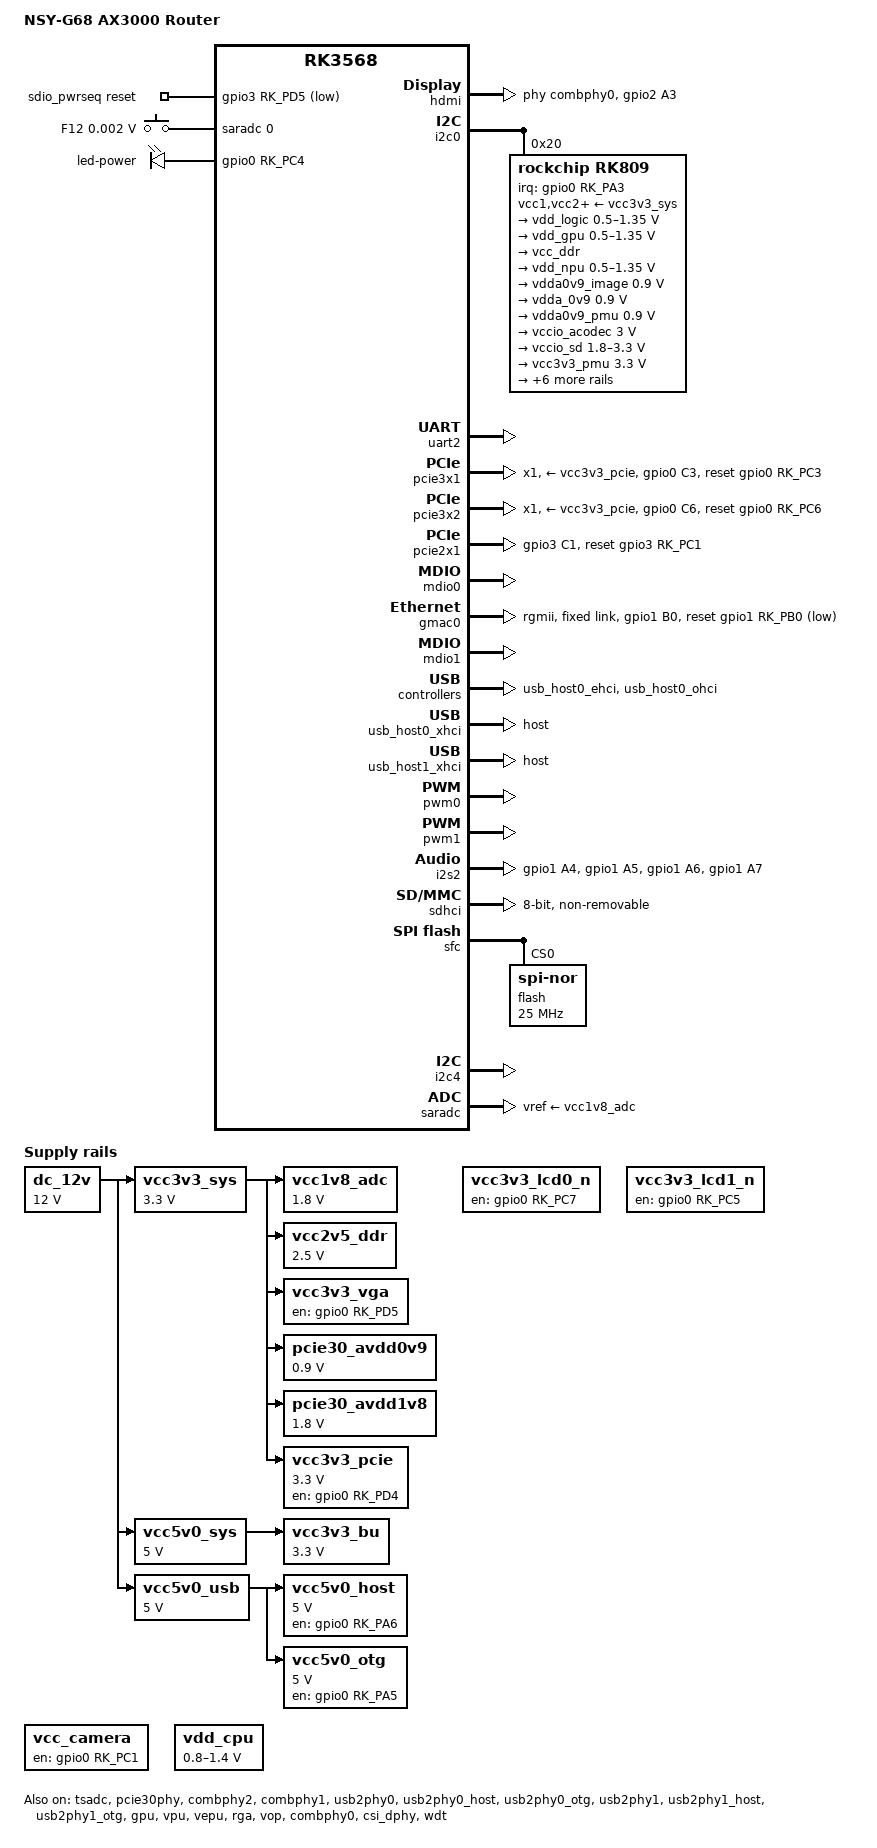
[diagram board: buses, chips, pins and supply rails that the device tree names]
// SPDX-License-Identifier: (GPL-2.0+ OR MIT)

/dts-v1/;

#include <dt-bindings/gpio/gpio.h>
#include <dt-bindings/pwm/pwm.h>
#include <dt-bindings/leds/common.h>
#include <dt-bindings/input/input.h>
#include <dt-bindings/pinctrl/rockchip.h>
#include <dt-bindings/soc/rockchip,vop2.h>
// 新增引用缺失的三个dtsi文件（按依赖顺序）
#include "rk3568-ramoops.dtsi"
#include "rk3568-vngpu.dtsi"
#include "rk3568-vngpu-rk809.dtsi"
#include "rk3568.dtsi"

/ {
	model = "NSY-G68 AX3000 Router";
	compatible = "nsy,g68-plus", "rockchip,rk3568";

	aliases {
		ethernet0 = &gmac0;
		ethernet1 = &gmac1;
		mmc0 = &sdhci;
	};

	chosen: chosen {
		stdout-path = "serial2:1500000n8";
		/* 新增硬解相关启动参数，优化内存分配 */
		bootargs = "earlycon=uart8250,mmio32,0xfe660000 console=ttyS2,1500000n8 root=/dev/mmcblk1p4 rw rootwait init=/init ignore_loglevel video=HDMI-A-1:1920x1080@60 drm.vblankoffdelay=1 rk3568.vpu_mem=0x40000000";
	};

	fiq-debugger {
		compatible = "rockchip,fiq-debugger";
		rockchip,serial-id = <2>;
		rockchip,wake-irq = <0>;
		rockchip,irq-mode-enable = <1>;
		rockchip,baudrate = <1500000>;
		interrupts = <GIC_SPI 252 IRQ_TYPE_LEVEL_LOW>;
		pinctrl-names = "default";
		pinctrl-0 = <&uart2m0_xfer>;
		status = "okay";
	};

	debug: debug@fd904000 {
		compatible = "rockchip,debug";
		reg = <0x0 0xfd904000 0x0 0x1000>,
			<0x0 0xfd905000 0x0 0x1000>,
			<0x0 0xfd906000 0x0 0x1000>,
			<0x0 0xfd907000 0x0 0x1000>;
	};

	dc_12v: dc-12v {
		compatible = "regulator-fixed";
		regulator-name = "dc_12v";
		regulator-always-on;
		regulator-boot-on;
		regulator-min-microvolt = <12000000>;
		regulator-max-microvolt = <12000000>;
	};

	vcc3v3_sys: vcc3v3-sys {
		compatible = "regulator-fixed";
		regulator-name = "vcc3v3_sys";
		regulator-always-on;
		regulator-boot-on;
		regulator-min-microvolt = <3300000>;
		regulator-max-microvolt = <3300000>;
		vin-supply = <&dc_12v>;
	};

	vcc5v0_sys: vcc5v0-sys {
		compatible = "regulator-fixed";
		regulator-name = "vcc5v0_sys";
		regulator-always-on;
		regulator-boot-on;
		regulator-min-microvolt = <5000000>;
		regulator-max-microvolt = <5000000>;
		vin-supply = <&dc_12v>;
	};

	vcc5v0_usb: vcc5v0-usb {
		compatible = "regulator-fixed";
		regulator-name = "vcc5v0_usb";
		regulator-always-on;
		regulator-boot-on;
		regulator-min-microvolt = <5000000>;
		regulator-max-microvolt = <5000000>;
		vin-supply = <&dc_12v>;
	};

	vcc5v0_host: vcc5v0-host-regulator {
		compatible = "regulator-fixed";
		regulator-name = "vcc5v0_host";
		regulator-boot-on;
		regulator-always-on;
		regulator-min-microvolt = <5000000>;
		regulator-max-microvolt = <5000000>;
		enable-active-high;
		gpio = <&gpio0 RK_PA6 GPIO_ACTIVE_HIGH>;
		vin-supply = <&vcc5v0_usb>;
		pinctrl-names = "default";
		pinctrl-0 = <&vcc5v0_host_en>;
	};

	vcc5v0_otg: vcc5v0-otg-regulator {
		compatible = "regulator-fixed";
		regulator-name = "vcc5v0_otg";
		regulator-min-microvolt = <5000000>;
		regulator-max-microvolt = <5000000>;
		enable-active-high;
		regulator-boot-on;
		regulator-always-on;
		gpio = <&gpio0 RK_PA5 GPIO_ACTIVE_HIGH>;
		vin-supply = <&vcc5v0_usb>;
		pinctrl-names = "default";
		pinctrl-0 = <&vcc5v0_otg_en>;
	};

	vcc3v3_lcd0_n: vcc3v3-lcd0-n {
		compatible = "regulator-fixed";
		regulator-name = "vcc3v3_lcd0_n";
		regulator-boot-on;
		gpio = <&gpio0 RK_PC7 GPIO_ACTIVE_HIGH>;
		enable-active-high;
		pinctrl-0 = <&vcc3v3_lcd0_n_en>;
		pinctrl-names = "default";
		regulator-state-mem {
			regulator-off-in-suspend;
		};
	};

	vcc3v3_lcd1_n: vcc3v3-lcd1-n {
		compatible = "regulator-fixed";
		regulator-name = "vcc3v3_lcd1_n";
		regulator-boot-on;
		gpio = <&gpio0 RK_PC5 GPIO_ACTIVE_HIGH>;
		enable-active-high;
		pinctrl-0 = <&vcc3v3_lcd1_n_en>;
		pinctrl-names = "default";
		regulator-state-mem {
			regulator-off-in-suspend;
		};
	};

	sdio_pwrseq: sdio-pwrseq {
		compatible = "mmc-pwrseq-simple";
		clocks = <&rk809 1>;
		clock-names = "ext_clock";
		pinctrl-names = "default";
		pinctrl-0 = <&wifi_enable_h>;
		post-power-on-delay-ms = <200>;
		reset-gpios = <&gpio3 RK_PD5 GPIO_ACTIVE_LOW>;
	};

	vcc1v8_adc: vcc1v8-adc {
		compatible = "regulator-fixed";
		regulator-name = "vcc1v8_adc";
		regulator-always-on;
		regulator-boot-on;
		regulator-min-microvolt = <1800000>;
		regulator-max-microvolt = <1800000>;
		vin-supply = <&vcc3v3_sys>;
	};

	vcc2v5_ddr: vcc2v5-ddr {
		compatible = "regulator-fixed";
		regulator-name = "vcc2v5-sys";
		regulator-always-on;
		regulator-boot-on;
		regulator-min-microvolt = <2500000>;
		regulator-max-microvolt = <2500000>;
		vin-supply = <&vcc3v3_sys>;
	};

	vcc3v3_vga: vcc3v3-vga {
		compatible = "regulator-fixed";
		regulator-name = "vcc3v3_vga";
		regulator-always-on;
		regulator-boot-on;
		gpio = <&gpio0 RK_PD5 GPIO_ACTIVE_HIGH>;
		pinctrl-0 = <&vcc3v3_vga_en>;
		pinctrl-names = "default";
		enable-active-high;
		vin-supply = <&vcc3v3_sys>;
	};

	pcie30_avdd0v9: pcie30-avdd0v9 {
		compatible = "regulator-fixed";
		regulator-name = "pcie30_avdd0v9";
		regulator-always-on;
		regulator-boot-on;
		regulator-min-microvolt = <900000>;
		regulator-max-microvolt = <900000>;
		vin-supply = <&vcc3v3_sys>;
	};

	pcie30_avdd1v8: pcie30-avdd1v8 {
		compatible = "regulator-fixed";
		regulator-name = "pcie30_avdd1v8";
		regulator-always-on;
		regulator-boot-on;
		regulator-min-microvolt = <1800000>;
		regulator-max-microvolt = <1800000>;
		vin-supply = <&vcc3v3_sys>;
	};

	vcc3v3_pcie: vcc3v3-pcie {
		compatible = "regulator-fixed";
		regulator-name = "vcc3v3_pcie";
		regulator-always-on;
		regulator-boot-on;
		regulator-min-microvolt = <3300000>;
		regulator-max-microvolt = <3300000>;
		enable-active-high;
		gpio = <&gpio0 RK_PD4 GPIO_ACTIVE_HIGH>;
		pinctrl-0 = <&vcc3v3_pcie_en>;
		pinctrl-names = "default";
		startup-delay-us = <5000>;
		vin-supply = <&vcc3v3_sys>;
	};

	vcc3v3_bu: c3v3_buvcc3v3-bu {
		compatible = "regulator-fixed";
		regulator-name = "vcc3v3_bu";
		regulator-always-on;
		regulator-boot-on;
		regulator-min-microvolt = <3300000>;
		regulator-max-microvolt = <3300000>;
		vin-supply = <&vcc5v0_sys>;
	};

	vcc_camera: vcc-camera-regulator {
		compatible = "regulator-fixed";
		gpio = <&gpio0 RK_PC1 GPIO_ACTIVE_HIGH>;
		pinctrl-names = "default";
		pinctrl-0 = <&camera_pwr>;
		regulator-name = "vcc_camera";
		enable-active-high;
		regulator-always-on;
		regulator-boot-on;
	};

	vdd_cpu: vdd-cpu {
		compatible = "pwm-regulator";
		rockchip,pwm_id = <0>;
		rockchip,pwm_voltage = <900000>;
		pwms = <&pwm0 0 25000 1>;
		regulator-name = "vdd_cpu";
		regulator-min-microvolt = <800000>;
		regulator-max-microvolt = <1400000>;
		regulator-init-microvolt = <1150000>;
		regulator-enable-ramp-delay = <300>;
		regulator-ramp-delay = <8000>;
		regulator-always-on;
		regulator-boot-on;
	};

	gmac0_xpcsclk: xpcs-gmac0-clock {
		compatible = "fixed-clock";
		clock-frequency = <125000000>;
		clock-output-names = "clk_gmac0_xpcs_mii";
		#clock-cells = <0>;
	};

	gmac1_xpcsclk: xpcs-gmac1-clock {
		compatible = "fixed-clock";
		clock-frequency = <125000000>;
		clock-output-names = "clk_gmac1_xpcs_mii";
		#clock-cells = <0>;
	};

	adc_keys: adc-keys {
		compatible = "adc-keys";
		io-channels = <&saradc 0>;
		io-channel-names = "buttons";
		keyup-threshold-microvolt = <1800000>;
		poll-interval = <100>;
		status = "okay";
		recovery-key {
			label = "F12";
			linux,code = <KEY_F12>;
			press-threshold-microvolt = <1750>;
		};
	};

	leds {
		compatible = "gpio-leds";
		led-power {
			label = "led-power";
			default-state = "on";
			gpios = <&gpio0 RK_PC4 GPIO_ACTIVE_HIGH>;
			pinctrl-names = "default";
			pinctrl-0 = <&led_power_en>;
		};
	};

	/* ========== 新增硬解核心配置 - VPU内存域 ========== */
	reserved-memory {
		#address-cells = <2>;
		#size-cells = <2>;
		ranges;

		/* VPU硬解专用内存（64MB），避免内存竞争 */
		vpu_mem: vpu-memory@50000000 {
			reg = <0x0 0x50000000 0x0 0x4000000>;
			no-map;
			compatible = "rockchip,vpu-mem";
		};

		/* VEPU视频编码专用内存（32MB） */
		vepu_mem: vepu-memory@54000000 {
			reg = <0x0 0x54000000 0x0 0x2000000>;
			no-map;
			compatible = "rockchip,vepu-mem";
		};

		/* RGA图形加速专用内存（32MB） */
		rga_mem: rga-memory@56000000 {
			reg = <0x0 0x56000000 0x0 0x2000000>;
			no-map;
			compatible = "rockchip,rga-mem";
		};
	};

	/* ========== 新增HDMI显示适配（硬解输出） ========== */
	hdmi: hdmi@fe060000 {
		compatible = "rockchip,rk3568-hdmi", "rockchip,rk3399-hdmi";
		reg = <0x0 0xfe060000 0x0 0x20000>;
		interrupts = <GIC_SPI 111 IRQ_TYPE_LEVEL_HIGH>;
		clocks = <&cru PCLK_HDMI_CTRL>, <&cru DCLK_HDMI_PHY>,
			 <&cru SCLK_HDMI_CEC>, <&cru SCLK_HDMI_AUDIO>,
			 <&cru SCLK_HDMI_PCLK>, <&cru SCLK_HDMI_BCLK>,
			 <&cru SCLK_HDMI_MCLK>;
		clock-names = "hclk", "dclk_phy", "cec", "audio",
			      "pclk", "bclk", "mclk";
		assigned-clocks = <&cru DCLK_HDMI_PHY>;
		assigned-clock-parents = <&cru DCLK_HDMI_PHY_SRC>;
		assigned-clock-rates = <297000000>;
		phys = <&combphy0 PHY_TYPE_HDMI>;
		phy-names = "hdmi-phy";
		pinctrl-names = "default";
		pinctrl-0 = <&hdmi_cec>;
		avdd-0v9-supply = <&vdda0v9_image>;
		avdd-1v8-supply = <&vcca1v8_image>;
		vcc-3v3-supply = <&vcc3v3_sys>;
		status = "okay";
	};

	/* ========== 新增音频Codec适配（硬解音频输出） ========== */
	sound {
		compatible = "simple-audio-card";
		simple-audio-card,name = "NSY-G68-HDMI-AUDIO";
		simple-audio-card,format = "i2s";
		simple-audio-card,mclk-fs = <256>;
		simple-audio-card,widgets = "Headphone", "HDMI Audio";
		simple-audio-card,routing = "HDMI Audio", "HP_OUT";

		simple-audio-card,cpu {
			sound-dai = <&i2s2>;
		};

		simple-audio-card,codec {
			sound-dai = <&hdmi>;
		};
	};
};

&i2c0 {
	status = "okay";

	rk809: pmic@20 {
		compatible = "rockchip,rk809";
		reg = <0x20>;
		interrupt-parent = <&gpio0>;
		interrupts = <RK_PA3 IRQ_TYPE_LEVEL_LOW>;
		pinctrl-names = "default", "pmic-sleep", "pmic-power-off", "pmic-reset";
		pinctrl-0 = <&pmic_int>;
		pinctrl-1 = <&soc_slppin_slp &rk817_slppin_slp>;
		pinctrl-2 = <&soc_slppin_gpio &rk817_slppin_pwrdn>;
		pinctrl-3 = <&soc_slppin_gpio &rk817_slppin_rst>;
		rockchip,system-power-controller;
		wakeup-source;
		#clock-cells = <1>;
		clock-output-names = "rk808-clkout1\0rk808-clkout2";
		pmic-reset-func = <0>;
		not-save-power-en = <1>;
		vcc1-supply = <&vcc3v3_sys>;
		vcc2-supply = <&vcc3v3_sys>;
		vcc3-supply = <&vcc3v3_sys>;
		vcc4-supply = <&vcc3v3_sys>;
		vcc5-supply = <&vcc3v3_sys>;
		vcc6-supply = <&vcc3v3_sys>;
		vcc7-supply = <&vcc3v3_sys>;
		vcc8-supply = <&vcc3v3_sys>;
		vcc9-supply = <&vcc3v3_sys>;

		pwrkey {
			status = "okay";
		};

		pinctrl_rk8xx: pinctrl_rk8xx {
			gpio-controller;
			#gpio-cells = <2>;

			rk817_slppin_null: rk817_slppin_null {
				pins = "gpio_slp";
				function = "pin_fun0";
			};

			rk817_slppin_slp: rk817_slppin_slp {
				pins = "gpio_slp";
				function = "pin_fun1";
			};

			rk817_slppin_pwrdn: rk817_slppin_pwrdn {
				pins = "gpio_slp";
				function = "pin_fun2";
			};

			rk817_slppin_rst: rk817_slppin_rst {
				pins = "gpio_slp";
				function = "pin_fun3";
			};
		};

		regulators {
			vdd_logic: DCDC_REG1 {
				regulator-always-on;
				regulator-boot-on;
				regulator-min-microvolt = <500000>;
				regulator-max-microvolt = <1350000>;
				regulator-init-microvolt = <900000>;
				regulator-ramp-delay = <6001>;
				regulator-initial-mode = <2>;
				regulator-name = "vdd_logic";
				regulator-state-mem {
					regulator-off-in-suspend;
				};
			};

			vdd_gpu: DCDC_REG2 {
				regulator-always-on;
				regulator-boot-on;
				regulator-min-microvolt = <500000>;
				regulator-max-microvolt = <1350000>;
				regulator-init-microvolt = <1000000>;
				regulator-ramp-delay = <6001>;
				regulator-initial-mode = <2>;
				regulator-name = "vdd_gpu";
				regulator-state-mem {
					regulator-off-in-suspend;
				};
			};

			vcc_ddr: DCDC_REG3 {
				regulator-always-on;
				regulator-boot-on;
				regulator-initial-mode = <2>;
				regulator-name = "vcc_ddr";
				regulator-state-mem {
					regulator-on-in-suspend;
				};
			};

			vdd_npu: DCDC_REG4 {
				regulator-always-on;
				regulator-boot-on;
				regulator-min-microvolt = <500000>;
				regulator-max-microvolt = <1350000>;
				regulator-init-microvolt = <1000000>;
				regulator-ramp-delay = <6001>;
				regulator-initial-mode = <2>;
				regulator-name = "vdd_npu";
				regulator-state-mem {
					regulator-off-in-suspend;
				};
			};

			vdda0v9_image: LDO_REG1 {
				regulator-boot-on;
				regulator-always-on;
				regulator-min-microvolt = <900000>;
				regulator-max-microvolt = <900000>;
				regulator-name = "vdda0v9_image";
				regulator-state-mem {
					regulator-off-in-suspend;
				};
			};

			vdda_0v9: LDO_REG2 {
				regulator-always-on;
				regulator-boot-on;
				regulator-min-microvolt = <900000>;
				regulator-max-microvolt = <900000>;
				regulator-name = "vdda_0v9";
				regulator-state-mem {
					regulator-off-in-suspend;
				};
			};

			vdda0v9_pmu: LDO_REG3 {
				regulator-always-on;
				regulator-boot-on;
				regulator-min-microvolt = <900000>;
				regulator-max-microvolt = <900000>;
				regulator-name = "vdda0v9_pmu";
				regulator-state-mem {
					regulator-on-in-suspend;
					regulator-suspend-microvolt = <900000>;
				};
			};

			vccio_acodec: LDO_REG4 {
				regulator-always-on;
				regulator-boot-on;
				regulator-min-microvolt = <3000000>;
				regulator-max-microvolt = <3000000>;
				regulator-name = "vccio_acodec";
				regulator-state-mem {
					regulator-off-in-suspend;
				};
			};

			vccio_sd: LDO_REG5 {
				regulator-always-on;
				regulator-boot-on;
				regulator-min-microvolt = <1800000>;
				regulator-max-microvolt = <3300000>;
				regulator-name = "vccio_sd";
				regulator-state-mem {
					regulator-off-in-suspend;
				};
			};

			vcc3v3_pmu: LDO_REG6 {
				regulator-always-on;
				regulator-boot-on;
				regulator-min-microvolt = <3300000>;
				regulator-max-microvolt = <3300000>;
				regulator-name = "vcc3v3_pmu";
				regulator-state-mem {
					regulator-on-in-suspend;
					regulator-suspend-microvolt = <3300000>;
				};
			};

			vcca_1v8: LDO_REG7 {
				regulator-always-on;
				regulator-boot-on;
				regulator-min-microvolt = <1800000>;
				regulator-max-microvolt = <1800000>;
				regulator-name = "vcca_1v8";
				regulator-state-mem {
					regulator-off-in-suspend;
				};
			};

			vcca1v8_pmu: LDO_REG8 {
				regulator-always-on;
				regulator-boot-on;
				regulator-min-microvolt = <1800000>;
				regulator-max-microvolt = <1800000>;
				regulator-name = "vcca1v8_pmu";
				regulator-state-mem {
					regulator-on-in-suspend;
					regulator-suspend-microvolt = <1800000>;
				};
			};

			vcca1v8_image: LDO_REG9 {
				regulator-always-on;
				regulator-boot-on;
				regulator-min-microvolt = <1800000>;
				regulator-max-microvolt = <1800000>;
				regulator-name = "vcca1v8_image";
				regulator-state-mem {
					regulator-off-in-suspend;
				};
			};

			vcc_1v8: DCDC_REG5 {
				regulator-always-on;
				regulator-boot-on;
				regulator-min-microvolt = <1800000>;
				regulator-max-microvolt = <1800000>;
				regulator-name = "vcc_1v8";
				regulator-state-mem {
					regulator-off-in-suspend;
				};
			};

			vcc_3v3: SWITCH_REG1 {
				regulator-always-on;
				regulator-boot-on;
				regulator-name = "vcc_3v3";
				regulator-state-mem {
					regulator-off-in-suspend;
				};
			};

			vcc3v3_sd: SWITCH_REG2 {
				regulator-always-on;
				regulator-boot-on;
				regulator-name = "vcc3v3_sd";
				regulator-state-mem {
					regulator-off-in-suspend;
				};
			};
		};
	};
};

&pinctrl {
	usb {
		vcc5v0_host_en: vcc5v0-host-en {
			rockchip,pins = <0 RK_PA6 RK_FUNC_GPIO &pcfg_pull_none>;
		};
		
		vcc5v0_otg_en: vcc5v0-otg-en {
			rockchip,pins = <0 RK_PA5 RK_FUNC_GPIO &pcfg_pull_none>;
		};
	};

	regulator-en {
		vcc3v3_lcd0_n_en: vcc3v3-lcd0-n-en {
			rockchip,pins = <0 RK_PC7 RK_FUNC_GPIO &pcfg_pull_none>;
		};
		vcc3v3_lcd1_n_en: vcc3v3-lcd1-n-en {
			rockchip,pins = <0 RK_PC5 RK_FUNC_GPIO &pcfg_pull_none>;
		};
		vcc3v3_vga_en: vcc3v3-vga-en {
			rockchip,pins = <0 RK_PD5 RK_FUNC_GPIO &pcfg_pull_none>;
		};
		camera_pwr: camera-pwr {
			rockchip,pins = <0 RK_PC1 RK_FUNC_GPIO &pcfg_pull_none>;
		};
		vcc3v3_pcie_en: vcc3v3-pcie-en {
			rockchip,pins = <0 RK_PD4 RK_FUNC_GPIO &pcfg_pull_none>;
		};
	};

	sdio-pwrseq {
		wifi_enable_h: wifi-enable-h {
			rockchip,pins = <3 RK_PD5 RK_FUNC_GPIO &pcfg_pull_none>;
		};
	};

	pmic {
		pmic_int: pmic-intl {
			rockchip,pins = <0 RK_PA3 RK_FUNC_GPIO &pcfg_pull_up>;
		};
	
		soc_slppin_gpio: soc-slppin-gpio {
			rockchip,pins = <0 RK_PA2 0 &pcfg_output_low>;
		};
	
		soc_slppin_slp:soc-slppin-slp {
			rockchip,pins = <0 RK_PA2 1 &pcfg_pull_none>;
		};
	
		soc_slppin_rst {
			rockchip,pins = <0 RK_PA2 2 &pcfg_pull_none>;
		};
	};

	pcie {
		pcie30x1_reset_h: pcie30x1-reset-h {
			rockchip,pins = <0 RK_PC3 RK_FUNC_GPIO &pcfg_pull_none>;
		};
		pcie30x2_reset_h: pcie30x2-reset-h {
			rockchip,pins = <0 RK_PC6 RK_FUNC_GPIO &pcfg_pull_none>;
		};
		pcie2x1_reset_h: pcie2x1-reset-h {
			rockchip,pins = <3 RK_PC1 RK_FUNC_GPIO &pcfg_pull_none>;
		};
	};

	gmac-reset {
		gmac0_reset: gmac0-reset {
			rockchip,pins = <1 RK_PB0 RK_FUNC_GPIO &pcfg_pull_none>;
		};
		gmac1_reset: gmac1-reset {
			rockchip,pins = <1 RK_PB1 RK_FUNC_GPIO &pcfg_pull_none>;
		};
	};

	leds {
		led_power_en: led-power-en {
			rockchip,pins = <0 RK_PC4 RK_FUNC_GPIO &pcfg_pull_none>;
		};
	};

	/* ========== 新增硬解相关引脚 - HDMI CEC ========== */
	hdmi {
		hdmi_cec: hdmi-cec {
			rockchip,pins = <2 RK_PA3 RK_FUNC_GPIO &pcfg_pull_none>;
		};
	};

	/* ========== 新增I2S音频引脚（硬解音频输出） ========== */
	i2s2 {
		i2s2_m0_xfer: i2s2-m0-xfer {
			rockchip,pins = <1 RK_PA4 RK_FUNC_1 &pcfg_pull_none>,
				       <1 RK_PA5 RK_FUNC_1 &pcfg_pull_none>,
				       <1 RK_PA6 RK_FUNC_1 &pcfg_pull_none>,
				       <1 RK_PA7 RK_FUNC_1 &pcfg_pull_none>;
		};
	};
};

&cpu0 {
	cpu-supply = <&vdd_cpu>;
};

&cpu1 {
	cpu-supply = <&vdd_cpu>;
};

&cpu2 {
	cpu-supply = <&vdd_cpu>;
};

&cpu3 {
	cpu-supply = <&vdd_cpu>;
};

&tsadc {
	rockchip,hw-tshut-mode = <1>;
	rockchip,hw-tshut-polarity = <0>;
	status = "okay";
};

&uart2 {
	status = "okay";
};

&pcie30_phy_grf {
};

&pcie3x1 {
	vpcie3v3-supply = <&vcc3v3_pcie>;
	reset-gpios = <&gpio0 RK_PC3 GPIO_ACTIVE_HIGH>;
	num-lanes = <0x1>;
	pinctrl-0 = <&pcie30x1_reset_h>;
	status = "okay";
};

&pcie3x2 {
	vpcie3v3-supply = <&vcc3v3_pcie>;
	reset-gpios = <&gpio0 RK_PC6 GPIO_ACTIVE_HIGH>;
	status = "okay";
	num-lanes = <0x1>;
	pinctrl-0 = <&pcie30x2_reset_h>;
};

&pcie30phy {
	data-lanes = <1 2>;
	status = "okay";
};

&combphy2 {
	status = "okay";
};

&pcie2x1 {
	reset-gpios = <&gpio3 RK_PC1 GPIO_ACTIVE_HIGH>;
	pinctrl-0 = <&pcie2x1_reset_h>;
	rockchip,perst-inactive-ms = <500>;
	status = "okay";
};

&mdio0 {
	status = "okay";
};

&gmac0 {
	status = "okay";
	phy-mode = "rgmii";
	snps,reset-gpio = <&gpio1 RK_PB0 GPIO_ACTIVE_LOW>;
	snps,reset-active-low;
	snps,reset-delays-us = <0 20000 100000>;
	assigned-clocks = <&cru SCLK_GMAC0_RX_TX &cru SCLK_GMAC0>;
	assigned-clock-parents = <&cru SCLK_GMAC0_RGMII_SPEED &cru CLK_MAC0_2TOP>;
	assigned-clock-rates = <0 125000000>;
	tx_delay = <0x3c>;
	rx_delay = <0x2f>;
	clock_in_out = "output";
	pinctrl-names = "default";
	pinctrl-0 = <&gmac0_miim &gmac0_tx_bus2 &gmac0_rx_bus2 &gmac0_rgmii_clk &gmac0_rgmii_bus &gmac0_reset>;
	fixed-link {
		speed = <1000>;
		full-duplex;
		pause;
	};
};

&mdio1 {
	status = "okay";
};

&combphy1 {
	rockchip,sgmii-mac-sel = <1>;
	status = "okay";
};

&gmac1 {
	status = "disabled";
	phy-mode = "sgmii";
	rockchip,pipegrf = <&pipegrf>;
	assigned-clocks = <&cru SCLK_GMAC1_RX_TX>;
	assigned-clock-parents = <&gmac1_xpcsclk>;
	pinctrl-names = "default";
	pinctrl-0 = <&gmac1m1_miim>;
	power-domains = <&power RK3568_PD_PIPE>;
	phys = <&combphy1 PHY_TYPE_SGMII>;
	fixed-link {
		speed = <1000>;
		full-duplex;
		pause;
	};
};

&usb_host0_ehci {
	status = "okay";
};

&usb_host0_ohci {
	status = "okay";
	snps,dis_enblslpm_quirk;
	snps,dis-u1-entry-quirk;
	snps,dis-u2-entry-quirk;
	snps,dis-u2-freeclk-exists-quirk;
	snps,dis-del-phy-power-chg-quirk;
	snps,dis-tx-ipgap-linecheck-quirk;
	snps,dis_rxdet_inp3_quirk;
	snps,xhci-trb-ent-quirk;
	snps,parkmode-disable-ss-quirk;
	quirk-skip-phy-init;
};

&usb_host0_xhci {
	dr_mode = "host";
	status = "okay";
	extcon = <&usb2phy0>;
	snps,dis_enblslpm_quirk;
	snps,dis-u1-entry-quirk;
	snps,dis-u2-entry-quirk;
	snps,dis-u2-freeclk-exists-quirk;
	snps,dis-del-phy-power-chg-quirk;
	snps,dis-tx-ipgap-linecheck-quirk;
	snps,dis_rxdet_inp3_quirk;
	snps,xhci-trb-ent-quirk;
	snps,parkmode-disable-ss-quirk;
	quirk-skip-phy-init;
};

&usb_host1_ehci {
	status = "disabled";
};

&usb_host1_ohci {
	status = "disabled";
};

&usb_host1_xhci {
	dr_mode = "host";
	snps,dis_enblslpm_quirk;
	snps,dis-u2-freeclk-exists-quirk;
	snps,dis-del-phy-power-chg-quirk;
	snps,dis-tx-ipgap-linecheck-quirk;
	snps,dis_rxdet_inp3_quirk;
	snps,xhci-trb-ent-quirk;
	snps,parkmode-disable-ss-quirk;
	status = "okay";
};

&usb2phy0 {
	status = "okay";
};

&usb2phy0_host {
	phy-supply = <&vcc5v0_host>;
	status = "okay";
};

&usb2phy0_otg {
	phy-supply = <&vcc5v0_otg>;
	status = "okay";
};

&usb2phy1 {
	status = "okay";
};

&usb2phy1_host {
	phy-supply = <&vcc5v0_host>;
	status = "okay";
};

&usb2phy1_otg {
	phy-supply = <&vcc5v0_host>;
	status = "okay";
};

&sata2 {
	status = "disabled";
};

&pmu_io_domains {
	status = "okay";
	pmuio2-supply = <&vcc3v3_pmu>;
	vccio1-supply = <&vcc_3v3>;
	vccio3-supply = <&vcc_3v3>;
	vccio4-supply = <&vcc_3v3>;
	vccio5-supply = <&vcc_3v3>;
	vccio6-supply = <&vcc_3v3>;
	vccio7-supply = <&vcc_3v3>;
};

&pwm0 {
	status = "okay";
};

&pwm1 {
	status = "okay";
};

&pwm2 {
	status = "disable";
};

&pwm3 {
	status = "disable";
};

&power {
	status = "okay";
};

&gpu {
	mali-supply = <&vdd_gpu>;
	status = "okay";
};

/* ========== 增强VPU配置 - 启用全格式硬解 ========== */
&vpu {
	status = "okay";
	memory-region = <&vpu_mem>;  /* 绑定专用内存 */
	rockchip,vpu-codec = "h264, h265, vp8, vp9, av1, mpeg2, mpeg4";  /* 全格式支持 */
	rockchip,vpu-hw-level = <5>; /* 最高硬解级别 */
	rockchip,vpu-mem-bank = <1>;
};

/* ========== 增强VEPU配置 - 视频编码硬解 ========== */
&vepu {
	status = "okay";
	memory-region = <&vepu_mem>;  /* 绑定专用内存 */
	rockchip,vepu-codec = "h264, h265";  /* 编码支持 */
	rockchip,vepu-hw-level = <4>;
};

/* ========== 增强RGA配置 - 图形加速（辅助硬解） ========== */
&rga {
	status = "okay";
	memory-region = <&rga_mem>;  /* 绑定专用内存 */
	rockchip,rga-hw-version = <2>;
	rockchip,rga-support-scale = <1>;
	rockchip,rga-support-rotate = <1>;
	rockchip,rga-support-blend = <1>;
};

/* ========== 增强VOP配置 - 显示输出（硬解画面渲染） ========== */
&vop {
	status = "okay";
	rockchip,vop2-enable = <1>;  /* 启用VOP2新一代渲染 */
	rockchip,vop-max-layer = <4>;
	rockchip,vop-support-hdr = <1>;  /* 支持HDR */
};

/* ========== 新增I2S2配置 - 硬解音频输出 ========== */
&i2s2 {
	status = "okay";
	pinctrl-names = "default";
	pinctrl-0 = <&i2s2_m0_xfer>;
	rockchip,playback-channels = <2>;
	rockchip,capture-channels = <0>;
	rockchip,rate = <48000>;
	rockchip,bitwidth = <16>;
	rockchip,format = <1>; /* I2S_FORMAT */
};

/* ========== 新增COMBPHY0配置 - HDMI PHY（硬解视频输出） ========== */
&combphy0 {
	status = "okay";
	rockchip,phy-type = <PHY_TYPE_HDMI>;
};

&sdhci {
	max-frequency = <200000000>;
	bus-width = <8>;
	no-sdio;
	no-sd;
	supports-emmc;
	non-removable;
	mmc-hs200-1_8v;
	pinctrl-names = "default";
	pinctrl-0 = <&emmc_bus8 &emmc_clk &emmc_cmd &emmc_datastrobe>;
	status = "okay";
};

&sdmmc2 {
	max-frequency = <150000000>;
	fifo-depth = <256>;
	no-sd;
	no-mmc;
	bus-width = <4>;
	disable-wp;
	cap-sd-highspeed;
	cap-sdio-irq;
	keep-power-in-suspend;
	sd-uhs-sdr104;
	mmc-pwrseq = <&sdio_pwrseq>;
	non-removable;
	pinctrl-names = "default";
	pinctrl-0 = <&sdmmc2m0_bus4 &sdmmc2m0_cmd &sdmmc2m0_clk>;
	status = "disabled";
};

&sdmmc0 {
	max-frequency = <150000000>;
	fifo-depth = <256>;
	no-sdio;
	bus-width = <4>;
	cap-mmc-highspeed;
	cap-sd-highspeed;
	disable-wp;
	sd-uhs-sdr104;
	vmmc-supply = <&vcc3v3_sd>;
	vqmmc-supply = <&vccio_sd>;
	pinctrl-names = "default";
	pinctrl-0 = <&sdmmc0_bus4 &sdmmc0_clk &sdmmc0_cmd &sdmmc0_det>;
	status = "disabled";
};

&csi_dphy {
	status = "okay";
};

&sfc {
	status = "okay";
	flash@0 {
		compatible = "spi-nor";
		reg = <0>;
		spi-max-frequency = <25000000>;
		spi-rx-bus-width = <4>;
		spi-tx-bus-width = <1>;
	};
};

&i2c1 {
	status = "disabled";
};

&i2c4 {
	status = "okay";
};

&i2c5 {
	status = "disabled";
};

&wdt {
	status = "okay";
};

&uart8 {
	status = "disabled";
};

&pwm4 {
	status = "disabled";
};

&pwm5 {
	status = "disabled";
};

&pwm7 {
	status = "disabled";
};

&pwm8 {
	status = "disabled";
};

&pwm9 {
	status = "disabled";
};

&saradc {
	status = "okay";
	vref-supply = <&vcc1v8_adc>;
};
